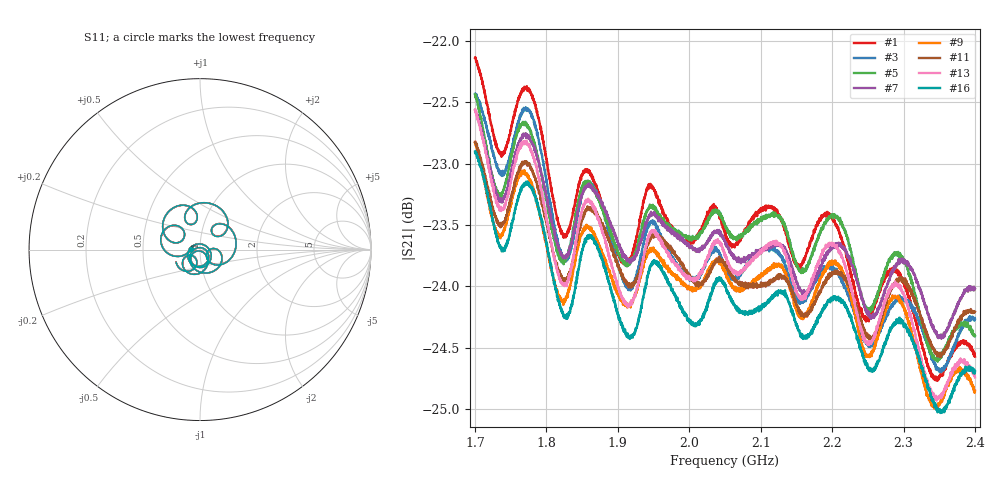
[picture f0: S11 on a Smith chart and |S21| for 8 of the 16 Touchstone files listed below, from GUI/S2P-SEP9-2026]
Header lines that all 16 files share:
# Hz S RI R 50
! CMT, CMT808U, 21440046, 21.4.3/4
! Data: Format (Calibration Info)
! Freq	S11:Re/Im(F2)	S41:Re/Im(F2)	S14:Re/Im(F2)	S44:Re/Im(F2)
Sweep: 1.7 GHz to 2.4 GHz
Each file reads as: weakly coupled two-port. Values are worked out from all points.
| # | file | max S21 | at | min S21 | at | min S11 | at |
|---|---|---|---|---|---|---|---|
| 1 | Port1.s2p | -22.13 dB | 1.7 GHz | -24.8 dB | 2.348 GHz | -42.1 dB | 2.269 GHz |
| 2 | Port2.s2p | -22.18 dB | 1.7 GHz | -24.6 dB | 2.351 GHz | -41.6 dB | 2.269 GHz |
| 3 | Port3.s2p | -22.43 dB | 1.7 GHz | -24.7 dB | 2.353 GHz | -41.8 dB | 2.27 GHz |
| 4 | Port4.s2p | -22.39 dB | 1.701 GHz | -24.8 dB | 2.351 GHz | -41.7 dB | 2.269 GHz |
| 5 | Port5.s2p | -22.44 dB | 1.701 GHz | -24.6 dB | 2.348 GHz | -42.2 dB | 2.269 GHz |
| 6 | Port6.s2p | -22.38 dB | 1.701 GHz | -24.4 dB | 2.348 GHz | -41.6 dB | 2.269 GHz |
| 7 | Port7.s2p | -22.56 dB | 1.7 GHz | -24.4 dB | 2.353 GHz | -41.5 dB | 2.269 GHz |
| 8 | Port8.s2p | -22.49 dB | 1.7 GHz | -24.5 dB | 2.35 GHz | -41.5 dB | 2.269 GHz |
| 9 | Port9.s2p | -22.82 dB | 1.7 GHz | -25.0 dB | 2.347 GHz | -42.6 dB | 2.269 GHz |
| 10 | Port10.s2p | -22.73 dB | 1.7 GHz | -24.7 dB | 2.353 GHz | -41.5 dB | 2.27 GHz |
| 11 | Port11.s2p | -22.82 dB | 1.701 GHz | -24.6 dB | 2.35 GHz | -41.4 dB | 2.27 GHz |
| 12 | Port12.s2p | -22.90 dB | 1.7 GHz | -24.9 dB | 2.351 GHz | -41.9 dB | 2.269 GHz |
| 13 | Port13.s2p | -22.56 dB | 1.7 GHz | -24.9 dB | 2.346 GHz | -41.6 dB | 2.269 GHz |
| 14 | Port14.s2p | -22.59 dB | 1.7 GHz | -24.6 dB | 2.351 GHz | -41.2 dB | 2.27 GHz |
| 15 | Port15.s2p | -22.96 dB | 1.7 GHz | -24.9 dB | 2.351 GHz | -41.5 dB | 2.27 GHz |
| 16 | Port16.s2p | -22.90 dB | 1.701 GHz | -25.0 dB | 2.352 GHz | -41.5 dB | 2.269 GHz |
